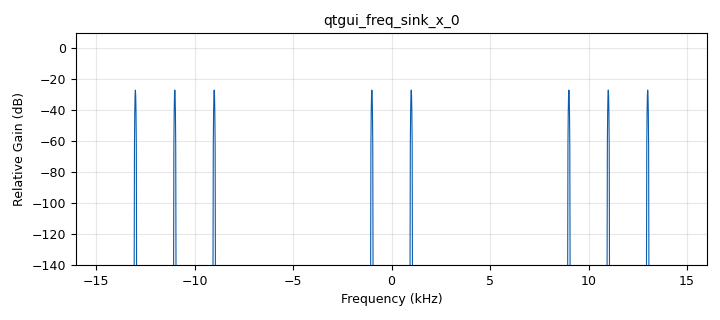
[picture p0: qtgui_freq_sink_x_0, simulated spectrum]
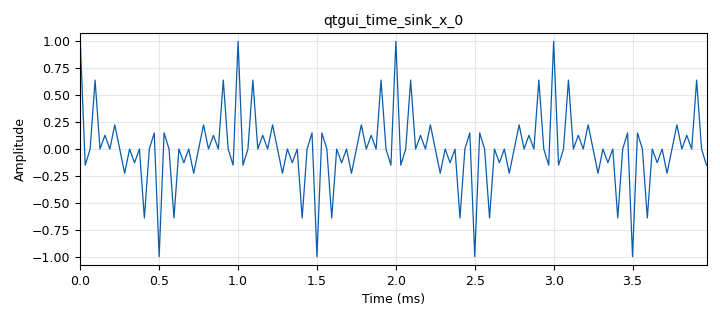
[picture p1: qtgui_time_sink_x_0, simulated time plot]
options:
  parameters:
    generate_options: qt_gui
    id: Lab1_3
    output_language: python
    title: Not titled yet
  states: {}

blocks:
- name: samp_rate
  id: variable
  parameters:
    value: '32000'
  states: {state: disabled}
- name: samp_rate
  id: variable_qtgui_range
  parameters:
    label: freq_mues
    start: '1000'
    step: '1000'
    stop: '40000'
    value: '32000'
  states: {}
- name: analog_sig_source_x_0
  id: analog_sig_source_x
  parameters:
    amp: '1'
    freq: '5000'
    offset: '0'
    phase: '0'
    samp_rate: samp_rate
    type: float
    waveform: analog.GR_COS_WAVE
  states: {}
- name: analog_sig_source_x_0_0
  id: analog_sig_source_x
  parameters:
    amp: '1'
    freq: '4000'
    offset: '0'
    phase: '0'
    samp_rate: samp_rate
    type: float
    waveform: analog.GR_COS_WAVE
  states: {}
- name: analog_sig_source_x_0_1
  id: analog_sig_source_x
  parameters:
    amp: '1'
    freq: '10000'
    offset: '0'
    phase: '0'
    samp_rate: samp_rate
    type: float
    waveform: analog.GR_COS_WAVE
  states: {}
- name: blocks_multiply_xx_0
  id: blocks_multiply_xx
  parameters:
    num_inputs: '3'
    type: float
  states: {}
- name: blocks_throttle_0
  id: blocks_throttle
  parameters:
    samples_per_second: samp_rate
    type: float
  states: {}
- name: qtgui_freq_sink_x_0
  id: qtgui_freq_sink_x
  parameters:
    bw: samp_rate
    fc: '0'
    fftsize: '2048'
    type: float
  states: {}
- name: qtgui_time_sink_x_0
  id: qtgui_time_sink_x
  parameters:
    size: '128'
    srate: samp_rate
    type: float
  states: {}

connections:
- [analog_sig_source_x_0, '0', blocks_multiply_xx_0, '0']
- [analog_sig_source_x_0_0, '0', blocks_multiply_xx_0, '1']
- [analog_sig_source_x_0_1, '0', blocks_multiply_xx_0, '2']
- [blocks_multiply_xx_0, '0', blocks_throttle_0, '0']
- [blocks_throttle_0, '0', qtgui_freq_sink_x_0, '0']
- [blocks_throttle_0, '0', qtgui_time_sink_x_0, '0']

metadata:
  file_format: 1
  grc_version: 3.10.2.0
